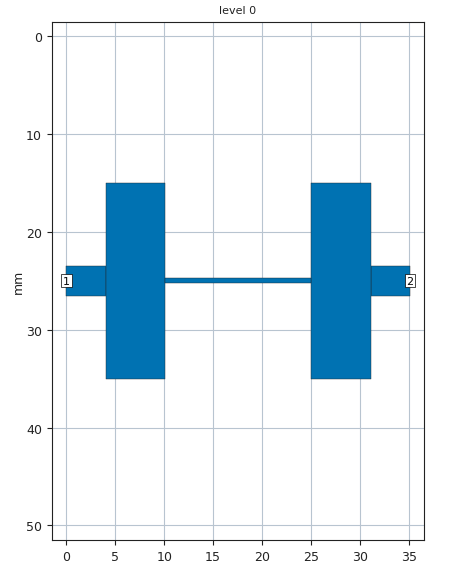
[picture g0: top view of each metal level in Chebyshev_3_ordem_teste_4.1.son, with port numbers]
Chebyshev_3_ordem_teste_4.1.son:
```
FTYP SONPROJ 13 ! Sonnet Project File
VER 15.53.lite
HEADER
LIC SL290709.106431 847bebfebdba DESKTOP-1CMJ3DP Arihe
DAT 05/12/2019 19:48:41
BUILT_BY_CREATED xgeom 15.53-Lite 04/13/2019 20:59:13
BUILT_BY_SAVED xgeom 15.53-Lite
MDATE 05/12/2019 19:48:41
HDATE 05/12/2019 19:48:41
END HEADER
DIM
FREQ GHZ
RSVY OHMM
IND NH
LNG MM
ANG DEG
CON /OH
CAP PF
RES OH
END DIM
FREQ
ABS 1.0e-9 3.0 
END FREQ
CONTROL
ABS
OPTIONS  -dj 
SPEED 0
CACHE_ABS 1
TARG_ABS 300
Q_ACC N
END CONTROL
GEO
DRP1 LEFT LINK
POLY 26 1
1
DRP1 RIGHT LINK
POLY 27 1
0
TMET "Lossless" 0 SUP 0 0 0 0
BMET "Lossless" 0 SUP 0 0 0 0
MET "Copper" 1 NOR 58000000 0 0.0347 
BOX 1 35.1 50 702 1000 20 0
      20 1 1 0 0 0 0 "Air"
      1.5306 4.1 1 0.02 0 0 0 "FR-4"
LORGN 0 50 U 
POR1 STD
POLY 26 1
3
1 50 0 0 0 -3.549999995e-007 25 
POR1 STD
POLY 27 1
1
2 50 0 0 0 35.09999964 25 
NUM 5
0 5 0 N 26 1 1 100 100 0 0 0 Y
-3.549999995e-007 23.45
3.999999645 23.45
3.999999645 26.55
-3.549999995e-007 26.55
-3.549999995e-007 23.45
END
0 5 0 N 27 1 1 100 100 0 0 0 Y
31.09999964 23.45
35.09999964 23.45
35.09999964 26.55
31.09999964 26.55
31.09999964 23.45
END
0 5 0 N 30 1 1 100 100 0 0 0 Y
3.999999645 15
10.09999965 15
10.09999965 35
3.999999645 35
3.999999645 15
END
0 5 0 N 31 1 1 100 100 0 0 0 Y
24.99999964 15
31.09999965 15
31.09999965 35
24.99999964 35
24.99999964 15
END
0 5 0 N 34 1 1 100 100 0 0 0 Y
10.09999964 24.75
24.99999964 24.75
24.99999964 25.25
10.09999964 25.25
10.09999964 24.75
END
END GEO
OPT
MAX 100
VARS
END
END OPT
VARSWP
END VARSWP
QSG
IMPORT NO
EXTRA_METAL NO
UNITS YES
ALIGN NO
REF NO
VIEW_RES NO
METALS YES
USED NO
END QSG
```
